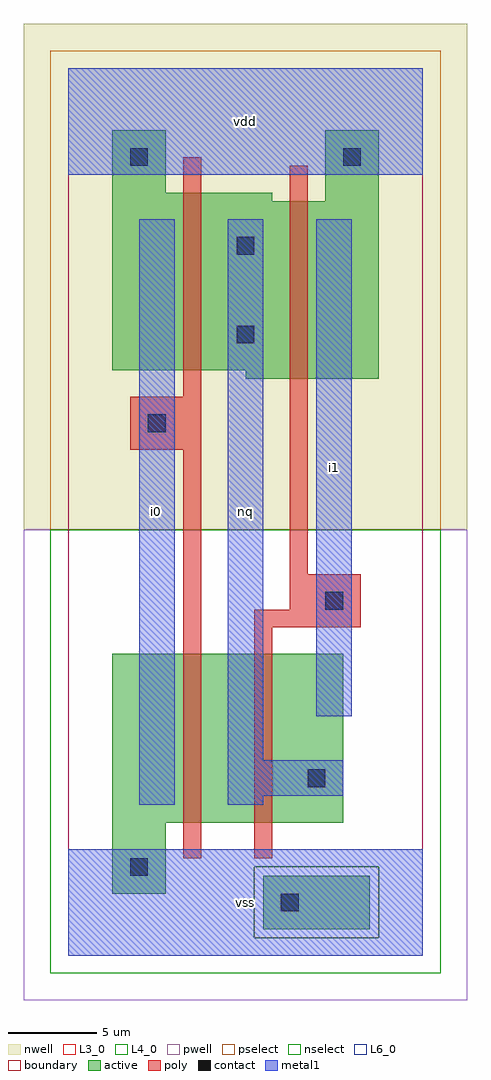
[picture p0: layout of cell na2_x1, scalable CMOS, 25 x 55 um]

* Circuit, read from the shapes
.subckt na2_x1 i0 i1 nq vdd vss
M1 n1 i0 vss vss nfet w=9.5u l=1u
M2 nq i1 n1 vss nfet w=9.5u l=1u
M3 nq i0 vdd n2 pfet w=10u l=1u
M4 vdd i1 nq n2 pfet w=10u l=1u
.ends

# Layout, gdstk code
import gdstk
lib = gdstk.Library(unit=1e-6, precision=1e-09)
def R(c, l, rs):  # rectangles x0, y0, x1, y1
    for r in rs: c.add(gdstk.rectangle(r[:2], r[2:], *l))
L3_0 = (3, 0)
L4_0 = (4, 0)
L6_0 = (6, 0)
contact = (25, 0)
pwell = (41, 0)
nwell = (42, 0)
active = (43, 0)
pselect = (44, 0)
nselect = (45, 0)
poly = (46, 0)
metal1 = (49, 0)
boundary = (63, 0)

na2_x1 = lib.new_cell('na2_x1')
R(na2_x1, L3_0, [(2.5,3.5,5.5,7.5), (2.5,7.5,15.5,17)])
R(na2_x1, L4_0, [(10,32.5,17.5,33), (2.5,33,17.5,42.5), (2.5,42.5,11.5,43), (14.5,42.5,17.5,46.5), (2.5,43,5.5,46.5)])
R(na2_x1, L6_0, [(11,1.5,17,4.5)])
R(na2_x1, contact, [(12,2.5,13,3.5), (3.5,4.5,4.5,5.5), (13.5,9.5,14.5,10.5), (14.5,19.5,15.5,20.5), (4.5,29.5,5.5,30.5), (9.5,34.5,10.5,35.5), (9.5,39.5,10.5,40.5), (3.5,44.5,4.5,45.5), (15.5,44.5,16.5,45.5)])
R(na2_x1, pwell, [(-2.5,-2.5,22.5,24)])
R(na2_x1, nwell, [(-2.5,24,22.5,52.5)])
R(na2_x1, active, [(11,1.5,17,4.5), (2.5,3.5,5.5,7.5), (2.5,7.5,15.5,17), (10,32.5,17.5,33), (2.5,33,17.5,42.5), (2.5,42.5,11.5,43), (14.5,42.5,17.5,46.5), (2.5,43,5.5,46.5)])
R(na2_x1, pselect, [(10.5,1,17.5,5), (-1,24,21,51)])
R(na2_x1, nselect, [(-1,-1,21,1), (-1,1,10.5,5), (17.5,1,21,5), (-1,5,21,24)])
R(na2_x1, poly, [(6.5,5.5,7.5,28.5), (10.5,5.5,11.5,18.5), (10.5,18.5,16.5,19.5), (12.5,19.5,16.5,21.5), (12.5,21.5,13.5,44.5), (3.5,28.5,7.5,31.5), (6.5,31.5,7.5,45)])
R(na2_x1, metal1, [(0,0,20,6), (0,0,20,6), (4,8.5,6,41.5), (4,8.5,6,41.5), (9,8.5,11,9), (9,8.5,11,9), (9,9,15.5,11), (9,9,15.5,11), (9,11,11,41.5), (9,11,11,41.5), (14,13.5,16,41.5), (14,13.5,16,41.5), (0,44,20,50), (0,44,20,50)])
R(na2_x1, boundary, [(0,0,20,50)])
na2_x1.add(gdstk.Label('vss', (10,3), layer=49, texttype=0))
na2_x1.add(gdstk.Label('i0', (5,25), layer=49, texttype=0))
na2_x1.add(gdstk.Label('nq', (10,25), layer=49, texttype=0))
na2_x1.add(gdstk.Label('vdd', (10,47), layer=49, texttype=0))
na2_x1.add(gdstk.Label('i1', (15,27.5), layer=49, texttype=0))

lib.write_gds('na2_x1.gds')
